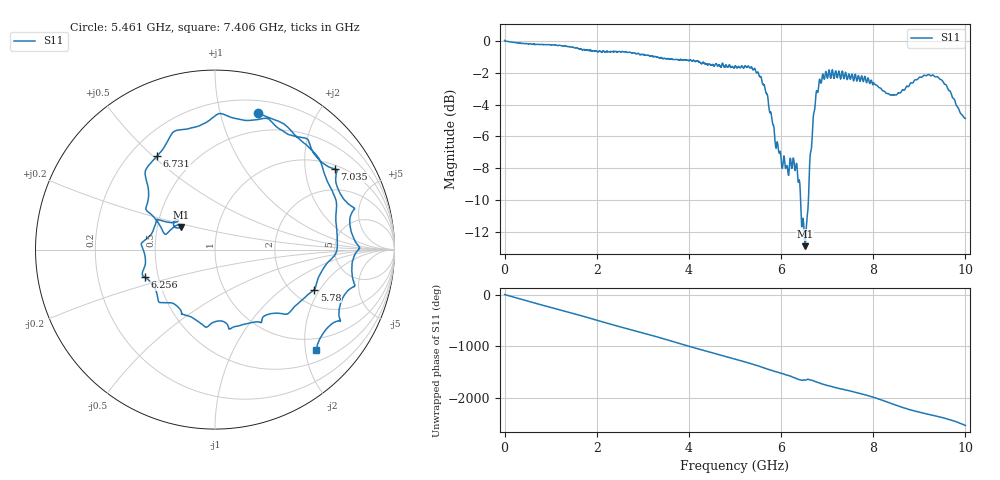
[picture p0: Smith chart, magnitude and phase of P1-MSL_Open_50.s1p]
! 2/19/2018 12:55:07 PM
! E:\STEPPED_EXPERIMENT_2018-02-19\P1-MSL_OPEN_50.S1P
! CHANNEL.1
! TR.MEASUREMENT
! CORRECTED.DATA
# GHZ S RI R 50.0
! FREQ.GHZ  S11RE  S11IM
!; PortSelection: Port_1
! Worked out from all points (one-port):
!   10000 points, 1 MHz to 10 GHz, reference 50 ohm
!   lowest |S11| = -12.9 dB at 6.521 GHz (marker M1), VSWR 1.58, Z = 33.3 + j8.87 ohm
!   |S11| at or under -10 dB: 6.423 GHz to 6.594 GHz (171.6 MHz wide, 2.64 % of centre)
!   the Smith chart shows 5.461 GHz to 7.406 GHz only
!   S11 on the Smith chart (normalised r, x): 5.461 GHz: 0.32, +1.31; 5.78 GHz: 2.58, -1.79; 6.256 GHz: 0.42, -0.16; 6.731 GHz: 0.31, +0.52; 7.035 GHz: 1.13, +2.88; 7.406 GHz: 0.73, -2.21
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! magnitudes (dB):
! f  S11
! 1 MHz  0.0
! 1.251 GHz  -0.3
! 2.501 GHz  -0.7
! 3.751 GHz  -1.2
! 5.001 GHz  -1.6
! 5.461 GHz  -2.0
! 5.666 GHz  -3.2
! 5.78 GHz  -4.5
! 5.997 GHz  -7.2
! 6.133 GHz  -7.9
! 6.251 GHz  -7.7
! 6.256 GHz  -7.5
! 6.367 GHz  -8.8
! 6.478 GHz  -11.2
! 6.521 GHz  -12.9
! 6.558 GHz  -11.3
! 6.659 GHz  -6.8
! 6.731 GHz  -4.3
! 6.797 GHz  -3.2
! 6.866 GHz  -2.6
! 7.035 GHz  -1.9
! 7.406 GHz  -2.0
! 7.501 GHz  -2.4
! 8.396 GHz  -3.4
! 8.751 GHz  -2.9
! 9.131 GHz  -2.2
! 9.408 GHz  -2.3
! 10 GHz  -4.9
